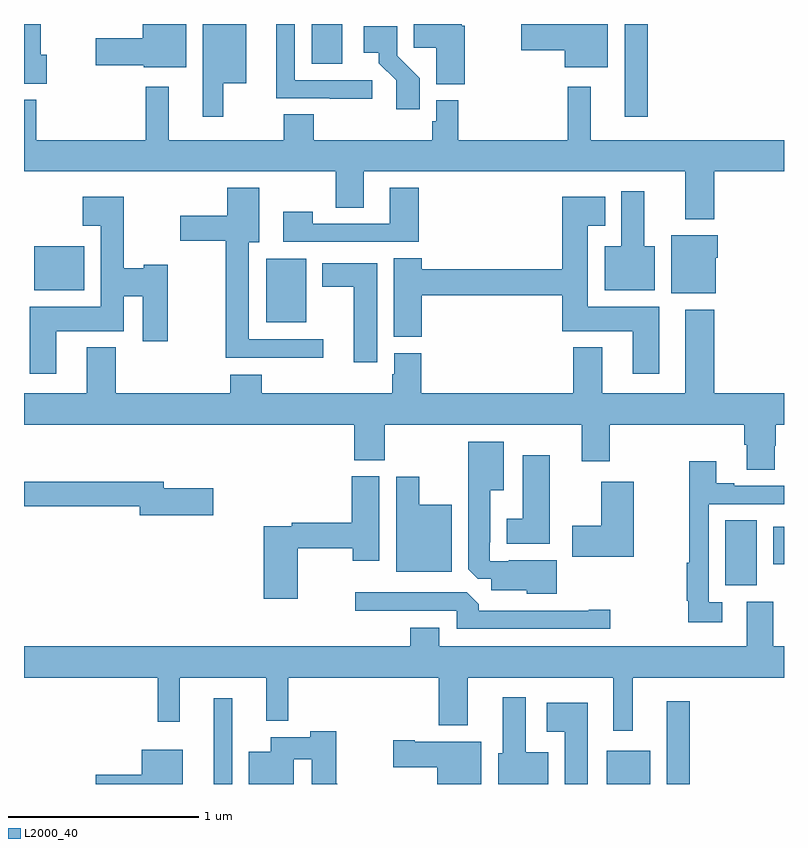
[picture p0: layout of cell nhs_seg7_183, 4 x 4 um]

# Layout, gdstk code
import gdstk
lib = gdstk.Library(unit=1e-6, precision=1e-09)
def R(c, l, rs):  # rectangles x0, y0, x1, y1
    for r in rs: c.add(gdstk.rectangle(r[:2], r[2:], *l))
def P(c, l, *ps):  # polygons
    for p in ps: c.add(gdstk.Polygon(p, *l))
L2000_40 = (2000, 40)

nhs_seg7_183 = lib.new_cell('nhs_seg7_183')
R(nhs_seg7_183, L2000_40, [(123.998,1056,124.095,1056.451), (126.068,1056,126.295,1056.175), (126.383,1056,126.505,1056.436), (126.692,1057.045,126.856,1057.388), (126.944,1057.157,127,1057.354), (124.274,1058.429,124.486,1058.764), (123.053,1058.6,123.316,1058.83), (126.161,1059.513,126.283,1060), (124.514,1059.792,124.675,1060)])
P(nhs_seg7_183, L2000_40, [(123.853,1060),(123.626,1060),(123.626,1059.926),(123.378,1059.926),(123.378,1059.784),(123.63,1059.784),(123.63,1059.773),(123.853,1059.773)],
  [(126.073,1060),(125.616,1060),(125.616,1059.862),(125.846,1059.862),(125.846,1059.773),(126.073,1059.773)],
  [(125.32,1059.99),(125.304,1059.99),(125.304,1060),(125.05,1060),(125.05,1059.874),(125.171,1059.874),(125.171,1059.683),(125.32,1059.683)],
  [(123.121,1059.839),(123.088,1059.839),(123.088,1060),(123,1060),(123,1059.686),(123.121,1059.686)],
  [(124.834,1059.705),(124.425,1059.705),(124.425,1060),(124.328,1060),(124.328,1059.609),(124.609,1059.609),(124.609,1059.607),(124.834,1059.607)],
  [(124.048,1059.689),(124.171,1059.689),(124.171,1060),(123.941,1060),(123.941,1059.513),(124.048,1059.513)],
  [(125.084,1059.714),(124.965,1059.833),(124.965,1059.988),(124.788,1059.988),(124.788,1059.848),(124.868,1059.848),(124.868,1059.793),(124.959,1059.703),(124.959,1059.552),(125.084,1059.552)],
  [(126.632,1059.224),(127,1059.224),(127,1059.388),(125.983,1059.388),(125.983,1059.67),(125.862,1059.67),(125.862,1059.388),(125.285,1059.388),(125.285,1059.598),(125.169,1059.598),(125.169,1059.489),(125.149,1059.489),(125.149,1059.388),(124.526,1059.388),(124.526,1059.524),(124.366,1059.524),(124.366,1059.388),(123.763,1059.388),(123.763,1059.67),(123.642,1059.67),(123.642,1059.388),(123.065,1059.388),(123.065,1059.601),(123,1059.601),(123,1059.224),(124.642,1059.224),(124.642,1059.034),(124.789,1059.034),(124.789,1059.224),(126.479,1059.224),(126.479,1058.972),(126.632,1058.972)],
  [(125.078,1059.139),(124.925,1059.139),(124.925,1058.949),(124.521,1058.949),(124.521,1059.013),(124.365,1059.013),(124.365,1058.853),(125.078,1058.853)],
  [(124.576,1058.34),(124.183,1058.34),(124.183,1058.852),(124.237,1058.852),(124.237,1059.139),(124.07,1059.139),(124.07,1058.992),(123.822,1058.992),(123.822,1058.858),(124.063,1058.858),(124.063,1058.243),(124.576,1058.243)],
  [(126.319,1058.83),(126.265,1058.83),(126.265,1059.121),(126.143,1059.121),(126.143,1058.83),(126.056,1058.83),(126.056,1058.6),(126.319,1058.6)],
  [(123.169,1058.384),(123.526,1058.384),(123.526,1058.567),(123.626,1058.567),(123.626,1058.331),(123.756,1058.331),(123.756,1058.732),(123.63,1058.732),(123.63,1058.714),(123.526,1058.714),(123.526,1059.091),(123.309,1059.091),(123.309,1058.939),(123.404,1058.939),(123.404,1058.512),(123.029,1058.512),(123.029,1058.16),(123.169,1058.16)],
  [(126.343,1058.512),(125.968,1058.512),(125.968,1058.939),(126.058,1058.939),(126.058,1059.091),(125.834,1059.091),(125.834,1058.708),(125.093,1058.708),(125.093,1058.768),(124.946,1058.768),(124.946,1058.353),(125.093,1058.353),(125.093,1058.572),(125.834,1058.572),(125.834,1058.384),(126.203,1058.384),(126.203,1058.16),(126.343,1058.16)],
  [(126.64,1058.769),(126.652,1058.769),(126.652,1058.887),(126.407,1058.887),(126.407,1058.582),(126.64,1058.582)],
  [(124.858,1058.74),(124.571,1058.74),(124.571,1058.618),(124.736,1058.618),(124.736,1058.22),(124.858,1058.22)],
  [(126.951,1057.779),(126.956,1057.779),(126.956,1057.892),(127,1057.892),(127,1058.056),(126.632,1058.056),(126.632,1058.497),(126.479,1058.497),(126.479,1058.056),(126.043,1058.056),(126.043,1058.299),(125.891,1058.299),(125.891,1058.056),(125.09,1058.056),(125.09,1058.268),(124.949,1058.268),(124.949,1058.157),(124.937,1058.157),(124.937,1058.056),(124.25,1058.056),(124.25,1058.155),(124.085,1058.155),(124.085,1058.056),(123.482,1058.056),(123.482,1058.299),(123.329,1058.299),(123.329,1058.056),(123,1058.056),(123,1057.892),(124.739,1057.892),(124.739,1057.705),(124.899,1057.705),(124.899,1057.892),(125.936,1057.892),(125.936,1057.698),(126.084,1057.698),(126.084,1057.892),(126.791,1057.892),(126.791,1057.786),(126.803,1057.786),(126.803,1057.654),(126.951,1057.654)],
  [(125.803,1057.177),(125.551,1057.177),(125.551,1057.173),(125.451,1057.173),(125.451,1057.273),(125.455,1057.273),(125.455,1057.547),(125.524,1057.547),(125.524,1057.801),(125.339,1057.801),(125.339,1057.129),(125.388,1057.08),(125.459,1057.08),(125.459,1057.019),(125.646,1057.019),(125.646,1057.001),(125.803,1057.001)],
  [(125.767,1057.729),(125.624,1057.729),(125.624,1057.396),(125.54,1057.396),(125.54,1057.265),(125.767,1057.265)],
  [(126.676,1056.957),(126.603,1056.957),(126.603,1057.473),(127,1057.473),(127,1057.569),(126.739,1057.569),(126.739,1057.582),(126.643,1057.582),(126.643,1057.699),(126.502,1057.699),(126.502,1057.164),(126.487,1057.164),(126.487,1056.964),(126.495,1056.964),(126.495,1056.852),(126.676,1056.852)],
  [(124.44,1057.24),(124.729,1057.24),(124.729,1057.176),(124.87,1057.176),(124.87,1057.62),(124.724,1057.62),(124.724,1057.376),(124.408,1057.376),(124.408,1057.356),(124.262,1057.356),(124.262,1056.975),(124.44,1056.975)],
  [(125.251,1057.471),(125.08,1057.471),(125.08,1057.618),(124.958,1057.618),(124.958,1057.118),(125.251,1057.118)],
  [(126.208,1057.591),(126.038,1057.591),(126.038,1057.359),(125.886,1057.359),(125.886,1057.196),(126.208,1057.196)],
  [(123.997,1057.557),(123.736,1057.557),(123.736,1057.591),(123,1057.591),(123,1057.462),(123.608,1057.462),(123.608,1057.415),(123.997,1057.415)],
  [(126.085,1056.917),(125.972,1056.917),(125.972,1056.912),(125.393,1056.912),(125.393,1056.946),(125.331,1057.008),(124.743,1057.008),(124.743,1056.912),(125.277,1056.912),(125.277,1056.816),(126.085,1056.816)],
  [(126.205,1056.56),(127,1056.56),(127,1056.724),(126.943,1056.724),(126.943,1056.96),(126.803,1056.96),(126.803,1056.724),(125.185,1056.724),(125.185,1056.823),(125.033,1056.823),(125.033,1056.724),(123,1056.724),(123,1056.56),(123.703,1056.56),(123.703,1056.327),(123.821,1056.327),(123.821,1056.56),(124.274,1056.56),(124.274,1056.332),(124.391,1056.332),(124.391,1056.56),(125.183,1056.56),(125.183,1056.308),(125.335,1056.308),(125.335,1056.56),(126.101,1056.56),(126.101,1056.279),(126.205,1056.279)],
  [(125.758,1056.166),(125.641,1056.166),(125.641,1056.457),(125.519,1056.457),(125.519,1056.162),(125.495,1056.162),(125.495,1056),(125.758,1056)],
  [(125.968,1056.427),(125.751,1056.427),(125.751,1056.275),(125.846,1056.275),(125.846,1056),(125.968,1056)],
  [(124.42,1056.13),(124.514,1056.13),(124.514,1056),(124.649,1056),(124.649,1056.001),(124.644,1056.001),(124.644,1056.277),(124.507,1056.277),(124.507,1056.247),(124.298,1056.247),(124.298,1056.169),(124.184,1056.169),(124.184,1056),(124.42,1056)],
  [(125.407,1056.223),(125.056,1056.223),(125.056,1056.231),(124.944,1056.231),(124.944,1056.089),(125.174,1056.089),(125.174,1056),(125.407,1056)],
  [(123.835,1056.181),(123.62,1056.181),(123.62,1056.05),(123.378,1056.05),(123.378,1056),(123.835,1056)])

lib.write_gds('nhs_seg7_183.gds')
